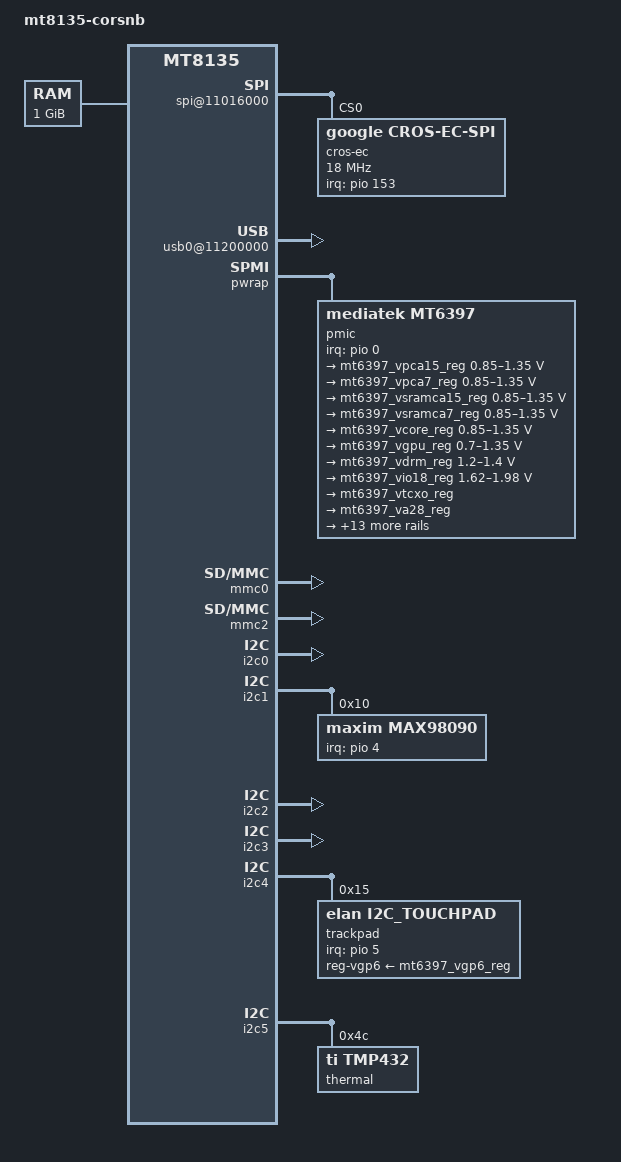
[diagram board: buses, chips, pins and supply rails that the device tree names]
/*
 * Copyright (c) 2014 MediaTek Inc.
 * Author: Joe.C <yingjoe.chen@mediatek.com>
 *
 * This program is free software; you can redistribute it and/or modify
 * it under the terms of the GNU General Public License version 2 as
 * published by the Free Software Foundation.
 *
 * This program is distributed in the hope that it will be useful,
 * but WITHOUT ANY WARRANTY; without even the implied warranty of
 * MERCHANTABILITY or FITNESS FOR A PARTICULAR PURPOSE.  See the
 * GNU General Public License for more details.
 */

/dts-v1/;
#include "mt8135.dtsi"

/ {
	model = "mt8135-corsnb";
	memory {
		reg = <0 0x80000000 0 0x40000000>;
	};

	soc {

		spi@11016000 {
			pinctrl-names = "default";
			pinctrl-0 = <&spi1_pins_a>;
			status = "okay";
			cros-ec@0 {
				compatible = "google,cros-ec-spi";
				reg = <0x0>;
				spi-max-frequency = <18000000>;
				interrupt-parent = <&pio>;
				interrupts = <153 IRQ_TYPE_LEVEL_LOW>;
				/* interrupts = <GIC_SPI 77 IRQ_TYPE_LEVEL_LOW>; */
				google,cros-ec-spi-msg-delay = <500>;
				google,cros-ec-spi-pre-delay = <500>;

				keyboard-controller {
					compatible = "google,cros-ec-keyb";
					keypad,num-rows = <8>;
					keypad,num-columns = <13>;
					google,needs-ghost-filter;
					linux,keymap = <0x0001007d	/* L_META */
							0x0002003b	/* F1 */
							0x00030030	/* B */
							0x00040044	/* F10 */
							0x00060031	/* N */
							0x0008000d	/* = */
							0x000a0064	/* R_ALT */

							0x01010001	/* ESC */
							0x0102003e	/* F4 */
							0x01030022	/* G */
							0x01040041	/* F7 */
							0x01060023	/* H */
							0x01080028	/* ' */
							0x01090043	/* F9 */
							0x010b000e	/* BKSPACE */

							0x0200001d	/* L_CTRL */
							0x0201000f	/* TAB */
							0x0202003d	/* F3 */
							0x02030014	/* T */
							0x02040040	/* F6 */
							0x0205001b	/* ] */
							0x02060015	/* Y */
							0x02070056	/* 102ND */
							0x0208001a	/* [ */
							0x02090042	/* F8 */

							0x03010029	/* GRAVE */
							0x0302003c	/* F2 */
							0x03030006	/* 5 */
							0x0304003f	/* F5 */
							0x03060007	/* 6 */
							0x0308000c	/* - */
							0x030b002b	/* \ */

							0x04000061	/* R_CTRL */
							0x0401001e	/* A */
							0x04020020	/* D */
							0x04030021	/* F */
							0x0404001f	/* S */
							0x04050025	/* K */
							0x04060024	/* J */
							0x04080027	/* ; */
							0x04090026	/* L */
							0x040a002b	/* \ */
							0x040b001c	/* ENTER */

							0x0501002c	/* Z */
							0x0502002e	/* C */
							0x0503002f	/* V */
							0x0504002d	/* X */
							0x05050033	/* , */
							0x05060032	/* M */
							0x0507002a	/* L_SHIFT */
							0x05080035	/* / */
							0x05090034	/* . */
							0x050B0039	/* SPACE */

							0x06010002	/* 1 */
							0x06020004	/* 3 */
							0x06030005	/* 4 */
							0x06040003	/* 2 */
							0x06050009	/* 8 */
							0x06060008	/* 7 */
							0x0608000b	/* 0 */
							0x0609000a	/* 9 */
							0x060a0038	/* L_ALT */
							0x060b006c	/* DOWN */
							0x060c006a	/* RIGHT */

							0x07010010	/* Q */
							0x07020012	/* E */
							0x07030013	/* R */
							0x07040011	/* W */
							0x07050017	/* I */
							0x07060016	/* U */
							0x07070036	/* R_SHIFT */
							0x07080019	/* P */
							0x07090018	/* O */
							0x070b0067	/* UP */
							0x070c0069>;	/* LEFT */
				};
			};
		};

		usb0@11200000 {
			pinctrl-names = "default";
			pinctrl-0 = <&usb0_pins_a>;
			status = "okay";
		};

	};
	sound {
		compatible = "mediatek,mt8135-max98090";
		mediatek,audio-codec = <&max98090>;
		reg-vgp1-supply = <&mt6397_vgp1_reg>;
		reg-vgp4-supply = <&mt6397_vgp4_reg>;
		pinctrl-names = "default";
		pinctrl-0 = <&aud_i2s2>;
		status = "okay";
	};

};

&pwrap {
	pmic {
		compatible = "mediatek,mt6397";
		#address-cells = <1>;
		#size-cells = <1>;
		interrupt-parent = <&pio>;
		interrupts = <0 IRQ_TYPE_LEVEL_HIGH>;

		rtc:rtc@8000 {
			reg = <0x8000 0x3e>;
		};

		mt6397codec: mt6397codec {
			compatible = "mediatek,mt6397-codec";
		};

		pinctrl@0x0000C000 {
			compatible = "mediatek,mt6397-pinctrl";
			reg = <0 0x0000C000 0 0x0108>;
			gpio-controller;
		};

		mt6397clock: mt6397clock {
			compatible = "mediatek,mt6397-clk";
			#clock-cells = <1>;
		};

		mt6397regulator: mt6397regulator {
			compatible = "mediatek,mt6397-regulator";

			mt6397_vpca15_reg: buck_vpca15 {
				regulator-compatible = "buck_vpca15";
				regulator-name = "vpca15";
				regulator-min-microvolt = < 850000>;
				regulator-max-microvolt = <1350000>;
				regulator-ramp-delay = <12500>;
				regulator-always-on;
			};

			mt6397_vpca7_reg: buck_vpca7 {
				regulator-compatible = "buck_vpca7";
				regulator-name = "vpca7";
				regulator-min-microvolt = < 850000>;
				regulator-max-microvolt = <1350000>;
				regulator-ramp-delay = <12500>;
				regulator-always-on;
			};

			mt6397_vsramca15_reg: buck_vsramca15 {
				regulator-compatible = "buck_vsramca15";
				regulator-name = "vsramca15";
				regulator-min-microvolt = < 850000>;
				regulator-max-microvolt = <1350000>;
				regulator-ramp-delay = <12500>;
				regulator-always-on;
			};

			mt6397_vsramca7_reg: buck_vsramca7 {
				regulator-compatible = "buck_vsramca7";
				regulator-name = "vsramca7";
				regulator-min-microvolt = < 850000>;
				regulator-max-microvolt = <1350000>;
				regulator-ramp-delay = <12500>;
				regulator-always-on;
			};

			mt6397_vcore_reg: buck_vcore {
				regulator-compatible = "buck_vcore";
				regulator-name = "vcore";
				regulator-min-microvolt = < 850000>;
				regulator-max-microvolt = <1350000>;
				regulator-ramp-delay = <12500>;
				regulator-always-on;
			};

			mt6397_vgpu_reg: buck_vgpu {
				regulator-compatible = "buck_vgpu";
				regulator-name = "vgpu";
				regulator-min-microvolt = < 700000>;
				regulator-max-microvolt = <1350000>;
				regulator-ramp-delay = <12500>;
				regulator-enable-ramp-delay = <115>;
			};

			mt6397_vdrm_reg: buck_vdrm {
				regulator-compatible = "buck_vdrm";
				regulator-name = "vdrm";
				regulator-min-microvolt = <1200000>;
				regulator-max-microvolt = <1400000>;
				regulator-ramp-delay = <12500>;
				regulator-always-on;
			};

			mt6397_vio18_reg: buck_vio18 {
				regulator-compatible = "buck_vio18";
				regulator-name = "vio18";
				regulator-min-microvolt = <1620000>;
				regulator-max-microvolt = <1980000>;
				regulator-ramp-delay = <12500>;
				regulator-always-on;
			};

			mt6397_vtcxo_reg: ldo_vtcxo {
				regulator-compatible = "ldo_vtcxo";
				regulator-name = "vtcxo";
				regulator-always-on;
			};

			mt6397_va28_reg: ldo_va28 {
				regulator-compatible = "ldo_va28";
				regulator-name = "va28";
				regulator-always-on;
			};

			mt6397_vcama_reg: ldo_vcama {
				regulator-compatible = "ldo_vcama";
				regulator-name = "vcama";
				regulator-min-microvolt = <1500000>;
				regulator-max-microvolt = <2800000>;
				regulator-enable-ramp-delay = <218>;
			};

			mt6397_vio28_reg: ldo_vio28 {
				regulator-compatible = "ldo_vio28";
				regulator-name = "vio28";
				regulator-always-on;
			};

			mt6397_vusb_reg: ldo_vusb {
				regulator-compatible = "ldo_vusb";
				regulator-name = "vusb";
			};

			mt6397_vmc_reg: ldo_vmc {
				regulator-compatible = "ldo_vmc";
				regulator-name = "vmc";
				regulator-min-microvolt = <1800000>;
				regulator-max-microvolt = <3300000>;
				regulator-enable-ramp-delay = <218>;
			};

			mt6397_vmch_reg: ldo_vmch {
				regulator-compatible = "ldo_vmch";
				regulator-name = "vmch";
				regulator-min-microvolt = <3000000>;
				regulator-max-microvolt = <3300000>;
				regulator-enable-ramp-delay = <218>;
			};

			mt6397_vemc_3v3_reg: ldo_vemc3v3 {
				regulator-compatible = "ldo_vemc3v3";
				regulator-name = "vemc_3v3";
				regulator-min-microvolt = <3000000>;
				regulator-max-microvolt = <3300000>;
				regulator-enable-ramp-delay = <218>;
			};

			mt6397_vgp1_reg: ldo_vgp1 {
				regulator-compatible = "ldo_vgp1";
				regulator-name = "vcamd";
				regulator-min-microvolt = <1220000>;
				regulator-max-microvolt = <3300000>;
				regulator-enable-ramp-delay = <240>;
			};

			mt6397_vgp2_reg: ldo_vgp2 {
				regulator-compatible = "ldo_vgp2";
				regulator-name = "vcamio";
				regulator-min-microvolt = <1000000>;
				regulator-max-microvolt = <3300000>;
				regulator-enable-ramp-delay = <218>;
				regulator-always-on;
			};

			mt6397_vgp3_reg: ldo_vgp3 {
				regulator-compatible = "ldo_vgp3";
				regulator-name = "vcamaf";
				regulator-min-microvolt = <1200000>;
				regulator-max-microvolt = <3300000>;
				regulator-enable-ramp-delay = <218>;
			};

			mt6397_vgp4_reg: ldo_vgp4 {
				regulator-compatible = "ldo_vgp4";
				regulator-name = "vgp4";
				regulator-min-microvolt = <1200000>;
				regulator-max-microvolt = <3300000>;
				regulator-enable-ramp-delay = <218>;
			};

			mt6397_vgp5_reg: ldo_vgp5 {
				regulator-compatible = "ldo_vgp5";
				regulator-name = "vgp5";
				regulator-min-microvolt = <1200000>;
				regulator-max-microvolt = <3000000>;
				regulator-enable-ramp-delay = <218>;
			};

			mt6397_vgp6_reg: ldo_vgp6 {
				regulator-compatible = "ldo_vgp6";
				regulator-name = "vgp6";
				regulator-min-microvolt = <1200000>;
				regulator-max-microvolt = <3300000>;
				regulator-enable-ramp-delay = <218>;
			};

			mt6397_vibr_reg: ldo_vibr {
				regulator-compatible = "ldo_vibr";
				regulator-name = "vibr";
				regulator-min-microvolt = <1300000>;
				regulator-max-microvolt = <3300000>;
				regulator-enable-ramp-delay = <218>;
			};
		};
	};
};

&mmc0 {
	pinctrl-names = "default", "state_uhs";
	pinctrl-0 = <&mmc0_pins_default>;
	pinctrl-1 = <&mmc0_pins_uhs>;
	status = "okay";
};

&mmc2 {
	pinctrl-names = "default", "state_uhs";
	pinctrl-0 = <&mmc2_pins_default>;
	pinctrl-1 = <&mmc2_pins_uhs>;
	status = "okay";
};

&i2c0 {
	pinctrl-names = "default";
	pinctrl-0 = <&i2c0_pins_a>;
	status = "okay";
};

&i2c1 {
	pinctrl-names = "default";
	pinctrl-0 = <&i2c1_pins_a>;
	status = "okay";

	max98090: audio-codec@10 {
		compatible = "maxim,max98090";
		reg = <0x10>;
		interrupt-parent = <&pio>;
		interrupts = <4 IRQ_TYPE_EDGE_FALLING>;
		pinctrl-names = "default";
		pinctrl-0 = <&max98090_irq>;
	};
};

&i2c2 {
	pinctrl-names = "default";
	pinctrl-0 = <&i2c2_pins_a>;
	status = "okay";
};

&i2c3 {
	pinctrl-names = "default";
	pinctrl-0 = <&i2c3_pins_a>;
	status = "okay";
};

&i2c4 {
	trackpad@15 {
		compatible = "elan,i2c_touchpad";
		reg = <0x15>;
		interrupt-parent = <&pio>;
		interrupts = <5 IRQ_TYPE_LEVEL_LOW>;
		/* nvidia,pmc-wakeup = <&pmc 1 11 2>; */
		reg-vgp6-supply = <&mt6397_vgp6_reg>;
		wakeup-source;
	};
};

&i2c5 {
	thermal@4c {
		compatible = "ti,tmp432";
		reg = <0x4c>;
	};
};
